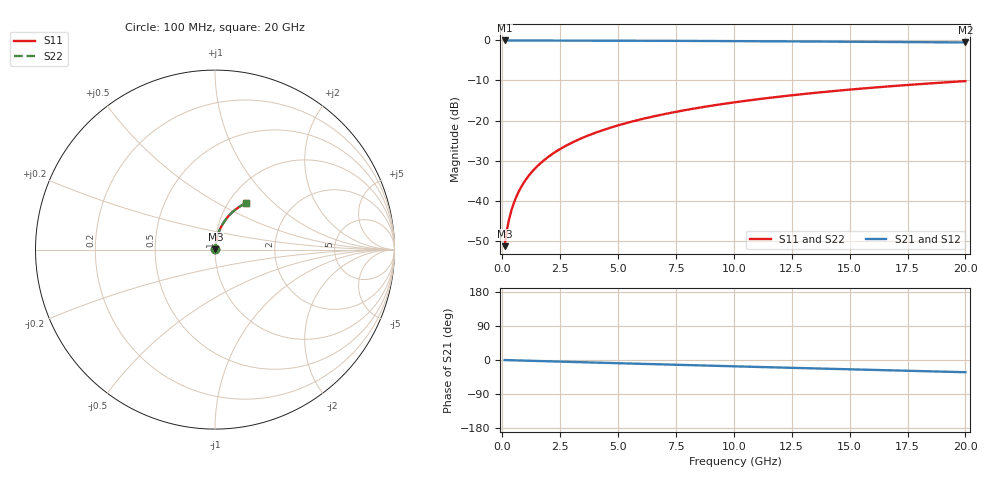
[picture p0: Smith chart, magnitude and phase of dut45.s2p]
! Touchstone file exported from HFSS 2026.1.0
!  File:  C:/ffzhzh/LocalFiles/Ansys_Project_Files/temp_train_BSMRDL_45_1782882439_13352.aedt
!  Generated:  01:08:31 PM Jul  1, 2026
!  Design:  BSMRDL
!  Project:  temp_train_BSMRDL_45_1782882439_13352
! Variables:
!  h_bsmrdl = 3.84um
!  h_ox = 20um
!  h_rdl = 5um
!  h_sub = 80um
!  h_tmrdl = 5um
!  h_tsv = 80um
!  h_via = 3um
!  l_bsmrdl = 441.31um
!  l_sub = 841.31um
!  l_tmrdl = 200um
!  m_sub = 200um
!  pitch = 53.13um
!  r_tsv = 6um
!  s_tmrdl = 10um
!  w_bsmrdl = 23.91um
!  w_sub = 500um
!  w_tmrdl = 12um
!  x_tsv_center1 = 206um
!  x_tsv_center2 = 671.22um
!  x_tsv_center3 = 883.22um
!  x_tsv_center4 = 1348.44um
!  x_tsv_center5 = 1560.44um
!  x_tsv_center6 = 2025.66um
# GHz S MA R 50.000000
! Terminal data exported
! Port[1] = BSM_RDL1_1_T1
! Port[2] = BSM_RDL1_1_T2
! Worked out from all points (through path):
!   200 points, 100 MHz to 20 GHz, reference 50 ohm
!   highest |S21| = -0.02 dB at 100 MHz (marker M1); lowest = -0.5 dB at 20 GHz (marker M2)
!   group delay of S21, straight-line fit = 4.48 ps
!   lowest |S11| = -51.3 dB at 100 MHz (marker M3), VSWR 1.01, Z = 50.2 + j0.193 ohm
!   |S11| at or under -10 dB: start of sweep to end of sweep
!   |S22| runs from -51.3 to -10.2 dB; largest |S21 - S12| = 3.5e-15
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0.1  0.002711 45.2  0.9981 -0.2  0.9981 -0.2  0.002711 45.2
! Gamma 0 0 0 0
! Port Impedance 50 0 50 0
0.2  0.004294 61.7  0.998 -0.4  0.998 -0.4  0.004294 61.7
0.3  0.005984 68.7  0.9979 -0.5  0.9979 -0.5  0.005985 68.7
0.4  0.007687 72.6  0.9978 -0.7  0.9978 -0.7  0.007687 72.6
0.5  0.009395 75.1  0.9977 -0.9  0.9977 -0.9  0.009395 75.1
0.6  0.01111 76.9  0.9976 -1.0  0.9976 -1.0  0.01111 76.9
0.8  0.01456 79.1  0.9975 -1.4  0.9975 -1.4  0.01456 79.1
1.1  0.01977 80.9  0.9973 -1.9  0.9973 -1.9  0.01977 80.9
1.5  0.02675 81.9  0.9971 -2.6  0.9971 -2.6  0.02675 81.9
1.8  0.03199 82.1  0.9968 -3.1  0.9968 -3.1  0.03199 82.1
2.1  0.03723 82.2  0.9966 -3.6  0.9966 -3.6  0.03723 82.2
2.7  0.04767 81.8  0.9959 -4.6  0.9959 -4.6  0.04767 81.8
3.5  0.06151 81.0  0.9948 -6.0  0.9948 -6.0  0.06151 81.0
4.2  0.07351 80.1  0.9937 -7.1  0.9937 -7.1  0.07351 80.1
5  0.08709 78.9  0.9923 -8.5  0.9923 -8.5  0.08709 78.9
5.9  0.1022 77.6  0.9904 -10.0  0.9904 -10.0  0.1022 77.6
6.8  0.1171 76.2  0.9884 -11.5  0.9884 -11.5  0.1171 76.2
8.3  0.1415 73.9  0.9846 -13.9  0.9846 -13.9  0.1415 73.9
10.1  0.17 71.2  0.9795 -16.8  0.9795 -16.8  0.17 71.1
13.4  0.2201 66.1  0.9686 -22.1  0.9686 -22.1  0.2201 66.1
16.7  0.267 61.2  0.9562 -27.2  0.9562 -27.2  0.267 61.2
20  0.3105 56.3  0.9426 -32.2  0.9426 -32.2  0.3105 56.3
